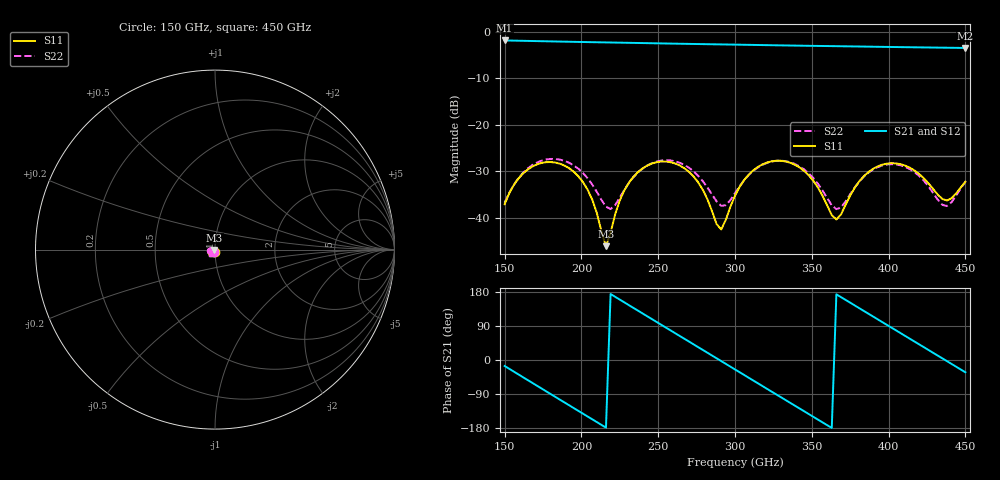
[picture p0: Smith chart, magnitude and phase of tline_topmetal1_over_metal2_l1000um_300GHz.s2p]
#  GHZ S DB R 50
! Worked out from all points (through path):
!   101 points, 150 GHz to 450 GHz, reference 50 ohm
!   highest |S21| = -1.84 dB at 150 GHz (marker M1); lowest = -3.4 dB at 450 GHz (marker M2)
!   group delay of S21, straight-line fit = 6.82 ps
!   lowest |S11| = -46.1 dB at 216 GHz (marker M3), VSWR 1.01, Z = 49.6 - j0.242 ohm
!   |S11| at or under -10 dB: start of sweep to end of sweep
!   |S22| runs from -38.1 to -27.3 dB; largest |S21 - S12| = 8.8e-14
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150  -37.05 -90.5  -1.84 -15.8  -1.84 -15.8  -36.70 -107.6
162  -30.45 -106.8  -1.91 -45.4  -1.91 -45.4  -30.28 -110.6
177  -28.01 -139.6  -2.01 -82.5  -2.01 -82.5  -27.44 -137.8
189  -28.74 -166.4  -2.09 -112.1  -2.09 -112.1  -27.73 -161.1
201  -32.29 169.3  -2.17 -141.6  -2.17 -141.6  -30.33 179.6
207  -36.02 161.5  -2.20 -156.4  -2.20 -156.4  -32.79 175.2
216  -46.07 -150.6  -2.26 -178.5  -2.26 -178.5  -37.58 -167.2
231  -32.38 -105.3  -2.34 144.6  -2.34 144.6  -32.46 -122.0
252  -27.87 -147.8  -2.47 92.9  -2.47 92.9  -27.67 -151.1
273  -31.08 170.6  -2.59 41.4  -2.59 41.4  -29.97 174.6
291  -42.48 -149.5  -2.68 -2.8  -2.68 -2.8  -37.39 -166.9
300  -35.21 -111.7  -2.73 -24.9  -2.73 -24.9  -34.66 -133.6
312  -29.74 -126.1  -2.80 -54.4  -2.80 -54.4  -29.85 -136.9
324  -27.81 -149.0  -2.86 -83.8  -2.86 -83.8  -27.86 -155.2
336  -28.14 -172.5  -2.93 -113.2  -2.93 -113.2  -28.03 -175.8
351  -32.01 163.8  -3.00 -149.9  -3.00 -149.9  -31.43 163.8
366  -40.33 -160.2  -3.07 173.3  -3.07 173.3  -38.12 -169.6
384  -30.98 -129.5  -3.15 129.2  -3.15 129.2  -31.09 -137.9
402  -28.23 -158.7  -3.24 85.1  -3.24 85.1  -28.43 -163.9
423  -31.50 173.0  -3.33 33.7  -3.33 33.7  -32.02 168.7
438  -36.25 -161.4  -3.40 -3.0  -3.40 -3.0  -37.43 -157.9
450  -32.20 -137.0  -3.45 -32.5  -3.45 -32.5  -32.25 -131.4
